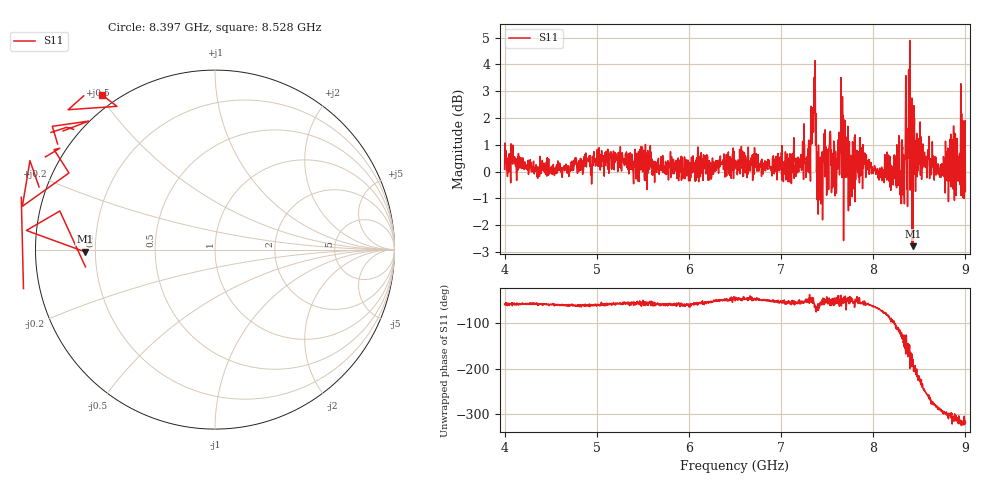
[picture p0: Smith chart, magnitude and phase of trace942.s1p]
! Created with skrf 1.8.0 (http://scikit-rf.org).
# Hz S RI R 50.0
!freq ReS11 ImS11
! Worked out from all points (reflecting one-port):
!   1601 points, 4 GHz to 9 GHz, reference 50 ohm
!   lowest |S11| = -2.8 dB at 8.431 GHz (marker M1), VSWR 6.29, Z = 7.94 - j0.403 ohm
!   phase of S11 starts at -58 deg and turns -261 deg over the sweep
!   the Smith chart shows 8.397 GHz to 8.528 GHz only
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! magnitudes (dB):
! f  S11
! 4 GHz  0.1
! 4.625 GHz  -0.2
! 5.25 GHz  0.2
! 5.875 GHz  -0.1
! 6.5 GHz  0.3
! 7.125 GHz  0.4
! 7.294 GHz  0.4
! 7.328 GHz  1.5
! 7.347 GHz  2.4
! 7.381 GHz  2.0
! 7.409 GHz  -0.2
! 7.428 GHz  -0.1
! 7.481 GHz  0.1
! 7.591 GHz  0.8
! 7.65 GHz  3.5
! 7.75 GHz  0.2
! 7.844 GHz  0.5
! 8.097 GHz  0.1
! 8.259 GHz  0.4
! 8.316 GHz  0.8
! 8.334 GHz  0.0
! 8.356 GHz  2.4
! 8.375 GHz  0.9
! 8.431 GHz  -2.8
! 8.497 GHz  1.0
! 8.716 GHz  -0.1
! 8.972 GHz  0.3
! 9 GHz  -0.7
